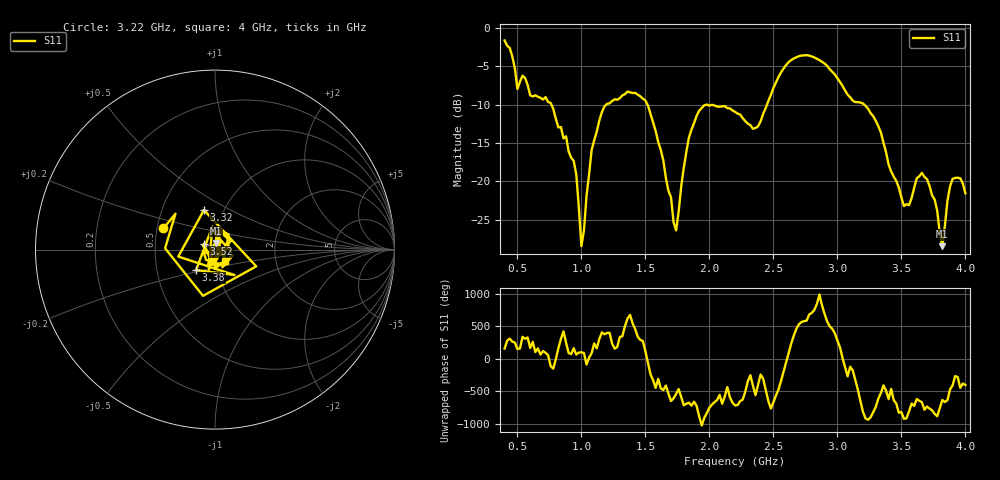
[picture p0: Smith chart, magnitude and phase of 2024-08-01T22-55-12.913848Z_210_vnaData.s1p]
!Created with skrf (http://scikit-rf.org).
# Hz S RI R 50.0
!freq ReS11 ImS11
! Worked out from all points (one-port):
!   181 points, 400 MHz to 4 GHz, reference 50 ohm
!   lowest |S11| = -28.5 dB at 3.82 GHz (marker M1), VSWR 1.08, Z = 50.3 + j3.78 ohm
!   |S11| at or under -10 dB: 1.517 GHz to 1.975 GHz (457.5 MHz wide, 26.2 % of centre); 1.984 GHz to 2.45 GHz (466.1 MHz wide, 21 % of centre); 3.21 GHz to end of sweep (the widest 3 of 4)
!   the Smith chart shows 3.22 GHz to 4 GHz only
!   S11 on the Smith chart (normalised r, x): 3.22 GHz: 0.54, +0.14; 3.32 GHz: 0.81, +0.37; 3.38 GHz: 0.79, -0.18; 3.52 GHz: 0.88, +0.06; 4 GHz: 1.11, -0.14
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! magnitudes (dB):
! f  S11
! 400 MHz  -1.6
! 500 MHz  -7.9
! 720 MHz  -9.0
! 860 MHz  -14.4
! 960 MHz  -19.1
! 1 GHz  -28.4
! 1.08 GHz  -15.9
! 1.18 GHz  -10.2
! 1.3 GHz  -9.1
! 1.52 GHz  -10.1
! 1.72 GHz  -25.3
! 1.76 GHz  -23.9
! 1.84 GHz  -14.3
! 1.92 GHz  -10.8
! 2.2 GHz  -10.9
! 2.38 GHz  -12.8
! 2.66 GHz  -4.0
! 2.9 GHz  -4.6
! 3.1 GHz  -9.0
! 3.22 GHz  -10.1
! 3.32 GHz  -12.8
! 3.38 GHz  -16.2
! 3.52 GHz  -23.2
! 3.56 GHz  -23.1
! 3.7 GHz  -19.7
! 3.82 GHz  -28.5
! 3.9 GHz  -19.7
! 4 GHz  -21.6
